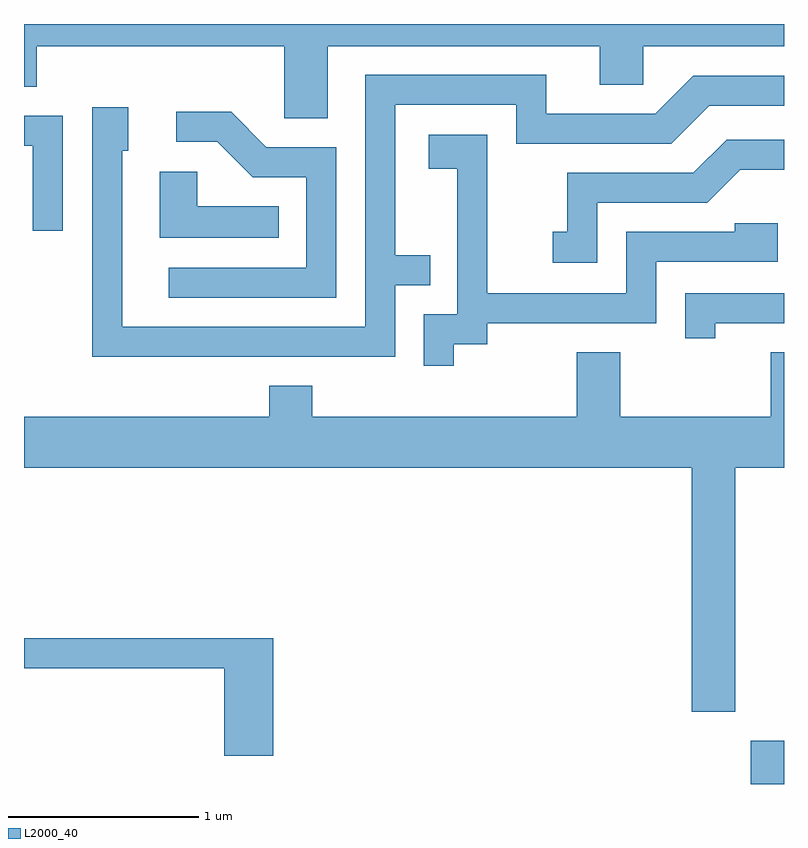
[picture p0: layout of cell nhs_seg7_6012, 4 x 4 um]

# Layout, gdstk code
import gdstk
lib = gdstk.Library(unit=1e-6, precision=1e-09)
def R(c, l, rs):  # rectangles x0, y0, x1, y1
    for r in rs: c.add(gdstk.rectangle(r[:2], r[2:], *l))
def P(c, l, *ps):  # polygons
    for p in ps: c.add(gdstk.Polygon(p, *l))
L2000_40 = (2000, 40)

nhs_seg7_6012 = lib.new_cell('nhs_seg7_6012')
R(nhs_seg7_6012, L2000_40, [(373.436,1668.252,373.611,1668.479)])
P(nhs_seg7_6012, L2000_40, [(371.209,1672.136),(372.641,1672.136),(372.641,1671.931),(372.869,1671.931),(372.869,1672.136),(373.611,1672.136),(373.611,1672.252),(369.611,1672.252),(369.611,1671.921),(369.679,1671.921),(369.679,1672.136),(370.981,1672.136),(370.981,1671.756),(371.209,1671.756)],
  [(371.564,1670.876),(371.748,1670.876),(371.748,1671.034),(371.564,1671.034),(371.564,1671.826),(372.201,1671.826),(372.201,1671.621),(373.017,1671.621),(373.217,1671.821),(373.611,1671.821),(373.611,1671.979),(373.134,1671.979),(372.934,1671.779),(372.359,1671.779),(372.359,1671.984),(371.406,1671.984),(371.406,1670.659),(370.129,1670.659),(370.129,1671.586),(370.159,1671.586),(370.159,1671.814),(369.971,1671.814),(369.971,1670.501),(371.564,1670.501)],
  [(371.254,1671.604),(370.887,1671.604),(370.702,1671.789),(370.413,1671.789),(370.413,1671.631),(370.629,1671.631),(370.814,1671.446),(371.096,1671.446),(371.096,1670.969),(370.373,1670.969),(370.373,1670.811),(371.254,1670.811)],
  [(369.814,1671.769),(369.611,1671.769),(369.611,1671.611),(369.656,1671.611),(369.656,1671.163),(369.814,1671.163)],
  [(371.874,1670.566),(372.049,1670.566),(372.049,1670.676),(372.939,1670.676),(372.939,1671.001),(373.579,1671.001),(373.579,1671.204),(373.351,1671.204),(373.351,1671.159),(372.781,1671.159),(372.781,1670.834),(372.049,1670.834),(372.049,1671.669),(371.741,1671.669),(371.741,1671.491),(371.891,1671.491),(371.891,1670.724),(371.716,1670.724),(371.716,1670.453),(371.874,1670.453)],
  [(372.629,1671.311),(373.207,1671.311),(373.382,1671.486),(373.611,1671.486),(373.611,1671.644),(373.309,1671.644),(373.134,1671.469),(372.471,1671.469),(372.471,1671.159),(372.393,1671.159),(372.393,1670.996),(372.629,1670.996)],
  [(370.953,1671.294),(370.524,1671.294),(370.524,1671.474),(370.326,1671.474),(370.326,1671.126),(370.953,1671.126)],
  [(373.249,1670.676),(373.611,1670.676),(373.611,1670.834),(373.091,1670.834),(373.091,1670.598),(373.249,1670.598)],
  [(373.354,1669.916),(373.611,1669.916),(373.611,1670.524),(373.541,1670.524),(373.541,1670.184),(372.749,1670.184),(372.749,1670.524),(372.521,1670.524),(372.521,1670.184),(371.129,1670.184),(371.129,1670.349),(370.901,1670.349),(370.901,1670.184),(369.611,1670.184),(369.611,1669.916),(373.126,1669.916),(373.126,1668.631),(373.354,1668.631)],
  [(370.924,1669.019),(369.611,1669.019),(369.611,1668.861),(370.666,1668.861),(370.666,1668.401),(370.924,1668.401)])

lib.write_gds('nhs_seg7_6012.gds')
